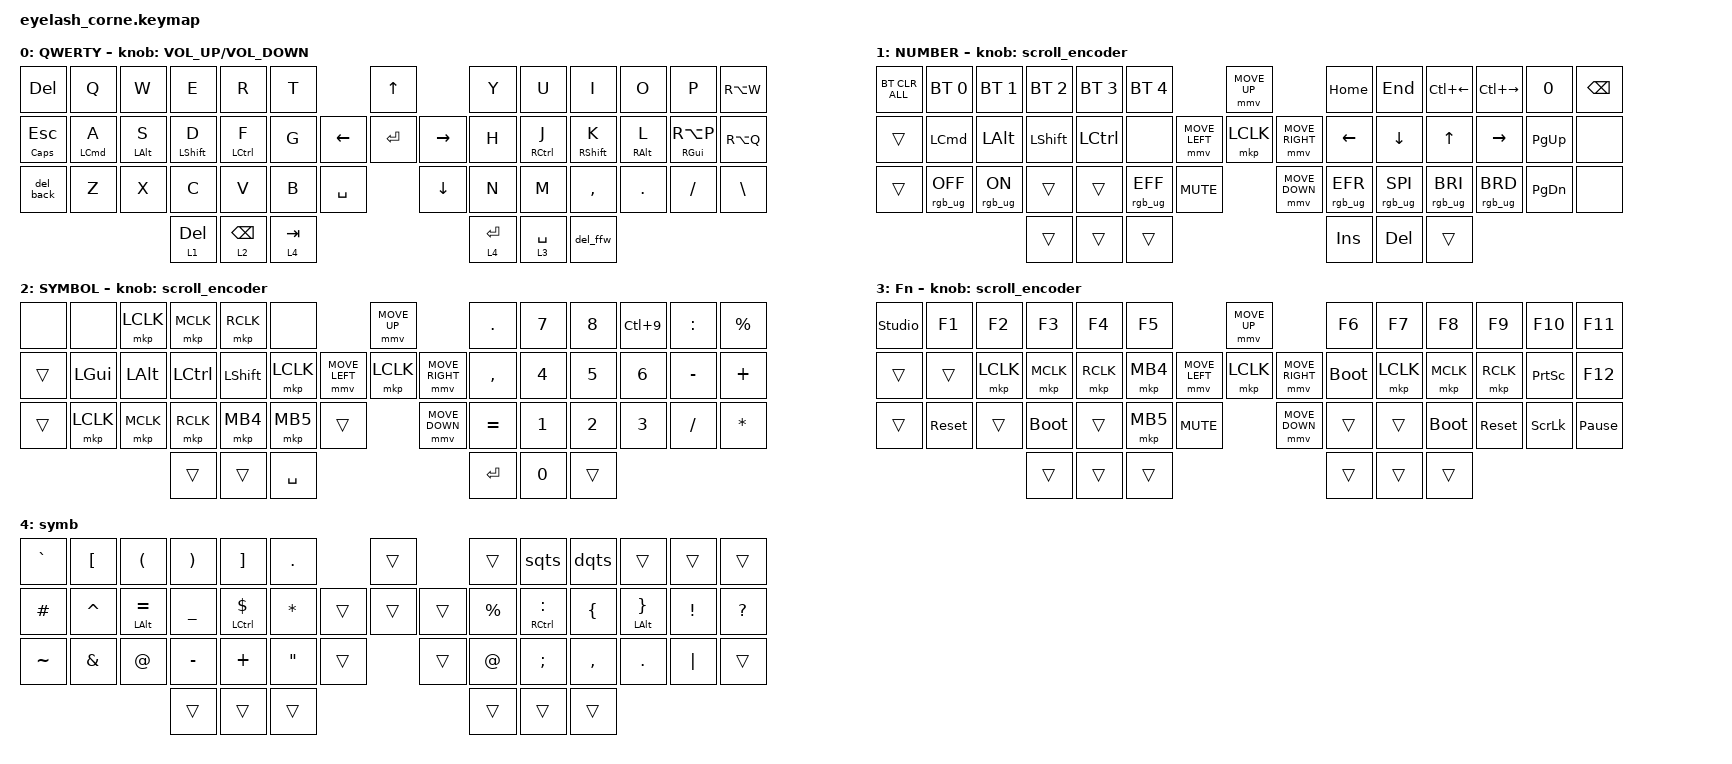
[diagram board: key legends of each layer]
#define ZMK_POINTING_DEFAULT_MOVE_VAL 1200  // 600
#define ZMK_POINTING_DEFAULT_SCRL_VAL 25   // 10

#include <input/processors.dtsi>
#include <zephyr/dt-bindings/input/input-event-codes.h>
#include <behaviors.dtsi>
#include <dt-bindings/zmk/bt.h>
#include <dt-bindings/zmk/keys.h>
#include <dt-bindings/zmk/pointing.h>
#include <dt-bindings/zmk/rgb.h>

&mmv_input_listener { input-processors = <&zip_xy_scaler 2 1>; };

&msc_input_listener { input-processors = <&zip_scroll_scaler 2 1>; };

&msc {
    acceleration-exponent = <1>;      // 0
    time-to-max-speed-ms = <100>;       // 300
    delay-ms = <0>;                   // 0
};

&mmv {
    time-to-max-speed-ms = <500>;
    acceleration-exponent = <1>;
    trigger-period-ms = <16>;
};

&soft_off { hold-time-ms = <2000>; };

&lt { quick-tap-ms = <175>; };

/ {
    behaviors {
        td0: td0 {
            compatible = "zmk,behavior-tap-dance";
            display-name = "Shift/Caps Lock Tap Dance";
            #binding-cells = <0>;
            bindings = <&kp LEFT_SHIFT>, <&kp CAPS>;
        };

        HMR: HMR {
            compatible = "zmk,behavior-hold-tap";
            label = "HMR";
            bindings = <&kp>, <&kp>;

            #binding-cells = <2>;
            tapping-term-ms = <280>;
            quick-tap-ms = <175>;
            flavor = "balanced";
            hold-trigger-on-release;
            hold-trigger-key-positions = <0 1 2 3 4 5 13 14 15 16 17 18 28 29 30 31 32 33 34 42 43 44>;
            require-prior-idle-ms = <125>;
        };

        HMRW: HMRW {
            compatible = "zmk,behavior-hold-tap";
            label = "HMRW";
            bindings = <&kp>, <&kp>;

            #binding-cells = <2>;
            tapping-term-ms = <280>;
            quick-tap-ms = <175>;
            flavor = "balanced";
            hold-trigger-on-release;
            hold-trigger-key-positions = <0 1 2 3 4 5 13 14 15 17 18 28 29 30 31 32 33 34 42 43 44>;
            require-prior-idle-ms = <125>;
        };

        HML: HML {
            compatible = "zmk,behavior-hold-tap";
            label = "HML";
            bindings = <&kp>, <&kp>;

            #binding-cells = <2>;
            tapping-term-ms = <280>;
            quick-tap-ms = <175>;
            flavor = "balanced";
            hold-trigger-on-release;
            hold-trigger-key-positions = <7 8 9 10 11 12 22 23 24 25 26 27 36 37 38 39 40 41 45 46 47>;
            require-prior-idle-ms = <125>;
        };

        HMLW: HMLW {
            compatible = "zmk,behavior-hold-tap";
            label = "HMLW";
            bindings = <&kp>, <&kp>;

            #binding-cells = <2>;
            tapping-term-ms = <280>;
            quick-tap-ms = <175>;
            flavor = "balanced";
            hold-trigger-on-release;
            hold-trigger-key-positions = <7 8 9 10 11 12 22 23 24 26 27 36 38 39 40 41 45 46 47>;
            require-prior-idle-ms = <125>;
        };
    };

    rgb_encoder: rgb_encoder {
        compatible = "zmk,behavior-sensor-rotate";
        #sensor-binding-cells = <0>;
        bindings = <&rgb_ug RGB_BRI>, <&rgb_ug RGB_BRD>;
    };

    scroll_encoder: scroll_encoder {
        compatible = "zmk,behavior-sensor-rotate";
        #sensor-binding-cells = <0>;
        bindings = <&msc SCRL_DOWN>, <&msc SCRL_UP>;

        tap-ms = <100>;
    };

    combos {
        compatible = "zmk,combos";

        softoff {
            bindings = <&soft_off>;
            key-positions = <1 15 29>;
        };
    };

    macros {
        del_back: del_back {
            compatible = "zmk,behavior-macro";
            #binding-cells = <0>;
            bindings = <&kp LC(LEFT) &kp LS(LC(RIGHT)) &kp DEL>;
            label = "DEL_BACK";
        };

        del_ffw: del_ffw {
            compatible = "zmk,behavior-macro";
            #binding-cells = <0>;
            bindings = <&kp RC(RIGHT) &kp LS(LC(LEFT)) &kp DELETE>;
            label = "DEL_FFW";
        };

        dqts: dqts {
            compatible = "zmk,behavior-macro";
            #binding-cells = <0>;
            bindings = <&kp DOUBLE_QUOTES &kp SPACE>;
            label = "DQTS";
        };

        sqts: sqts {
            compatible = "zmk,behavior-macro";
            #binding-cells = <0>;
            bindings = <&kp SQT &kp SPACE>;
            label = "SQTS";
        };
    };

    keymap {
        compatible = "zmk,keymap";

        default_layer {
            display-name = "QWERTY";
            bindings = <
&kp DELETE       &kp Q         &kp W        &kp E         &kp R            &kp T                             &kp UP                &kp Y        &kp U         &kp I          &kp O             &kp P                  &kp RA(W)
&mt CAPS ESCAPE  &HMLW LCMD A  &HML LALT S  &HML LSHFT D  &HML LCTRL F     &kp G                   &kp LEFT  &kp ENTER  &kp RIGHT  &kp H        &HMR RCTRL J  &HMR RSHIFT K  &HMR RIGHT_ALT L  &HMRW RIGHT_GUI RA(P)  &kp RA(Q)
&del_back        &kp Z         &kp X        &kp C         &kp V            &kp B      &kp SPACE              &kp DOWN              &kp N        &kp M         &kp COMMA      &kp DOT           &kp FSLH               &kp BACKSLASH
                                            &lt 1 DELETE  &lt 2 BACKSPACE  &lt 4 TAB                                               &lt 4 ENTER  &lt 3 SPACE   &del_ffw
            >;

            sensor-bindings = <&inc_dec_kp C_VOLUME_UP C_VOLUME_DOWN>;
        };

        lower_layer {
            display-name = "NUMBER";
            bindings = <
&bt BT_CLR_ALL  &bt BT_SEL 0     &bt BT_SEL 1    &bt BT_SEL 2    &bt BT_SEL 3  &bt BT_SEL 4                                   &mmv MOVE_UP                     &kp HOME         &kp END          &kp LC(LEFT)     &kp LC(RIGHT)    &kp N0         &kp BSPC
&trans          &kp LCMD         &kp LALT        &kp LEFT_SHIFT  &kp LCTRL     &none                          &mmv MOVE_LEFT  &mkp LCLK       &mmv MOVE_RIGHT  &kp LEFT         &kp DOWN         &kp UP           &kp RIGHT        &kp PG_UP      &none
&trans          &rgb_ug RGB_OFF  &rgb_ug RGB_ON  &trans          &trans        &rgb_ug RGB_EFF  &kp C_MUTE                    &mmv MOVE_DOWN                   &rgb_ug RGB_EFR  &rgb_ug RGB_SPI  &rgb_ug RGB_BRI  &rgb_ug RGB_BRD  &kp PAGE_DOWN  &none
                                                 &trans          &trans        &trans                                                                          &kp INS          &kp DEL          &trans
            >;

            sensor-bindings = <&scroll_encoder>;
        };

        raise_layer {
            display-name = "SYMBOL";
            bindings = <
&none   &none      &mkp LCLK  &mkp MCLK  &mkp RCLK       &none                                &mmv MOVE_UP                     &kp PERIOD  &kp NUMBER_7  &kp NUMBER_8  &kp LC(NUMBER_9)  &kp COLON  &kp PERCENT
&trans  &kp LGUI   &kp LALT   &kp LCTRL  &kp LEFT_SHIFT  &mkp LCLK            &mmv MOVE_LEFT  &mkp LCLK       &mmv MOVE_RIGHT  &kp COMMA   &kp NUMBER_4  &kp N5        &kp NUMBER_6      &kp MINUS  &kp PLUS
&trans  &mkp LCLK  &mkp MCLK  &mkp RCLK  &mkp MB4        &mkp MB5   &trans                    &mmv MOVE_DOWN                   &kp EQUAL   &kp NUMBER_1  &kp NUMBER_2  &kp NUMBER_3      &kp SLASH  &kp STAR
                              &trans     &trans          &kp SPACE                                                             &kp RET     &kp NUMBER_0  &trans
            >;

            sensor-bindings = <&scroll_encoder>;
        };

        layer_3 {
            display-name = "Fn";
            bindings = <
&studio_unlock  &kp F1      &kp F2     &kp F3       &kp F4     &kp F5                                  &mmv MOVE_UP                     &kp F6       &kp F7     &kp F8       &kp F9      &kp F10          &kp F11
&trans          &trans      &mkp LCLK  &mkp MCLK    &mkp RCLK  &mkp MB4                &mmv MOVE_LEFT  &mkp LCLK       &mmv MOVE_RIGHT  &bootloader  &mkp LCLK  &mkp MCLK    &mkp RCLK   &kp PRINTSCREEN  &kp F12
&trans          &sys_reset  &trans     &bootloader  &trans     &mkp MB5  &kp C_MUTE                    &mmv MOVE_DOWN                   &trans       &trans     &bootloader  &sys_reset  &kp SCROLLLOCK   &kp PAUSE_BREAK
                                       &trans       &trans     &trans                                                                   &trans       &trans     &trans
            >;

            sensor-bindings = <&scroll_encoder>;
        };

        symb {
            bindings = <
&kp GRAVE  &kp LEFT_BRACKET  &kp LEFT_PARENTHESIS  &kp RIGHT_PARENTHESIS  &kp RIGHT_BRACKET  &kp PERIOD                           &trans          &trans       &sqts             &dqts           &trans                 &trans           &trans
&kp HASH   &kp CARET         &HML LALT EQUAL       &kp UNDERSCORE         &HML LCTRL DOLLAR  &kp STAR                     &trans  &trans  &trans  &kp PERCENT  &HMR RCTRL COLON  &kp LEFT_BRACE  &HMR LALT RIGHT_BRACE  &kp EXCLAMATION  &kp QUESTION
&kp TILDE  &kp AMPERSAND     &kp AT_SIGN           &kp MINUS              &kp PLUS           &kp DOUBLE_QUOTES  &trans            &trans          &kp AT       &kp SEMICOLON     &kp COMMA       &kp PERIOD             &kp PIPE         &trans
                                                   &trans                 &trans             &trans                                               &trans       &trans            &trans
            >;
        };
    };
};
